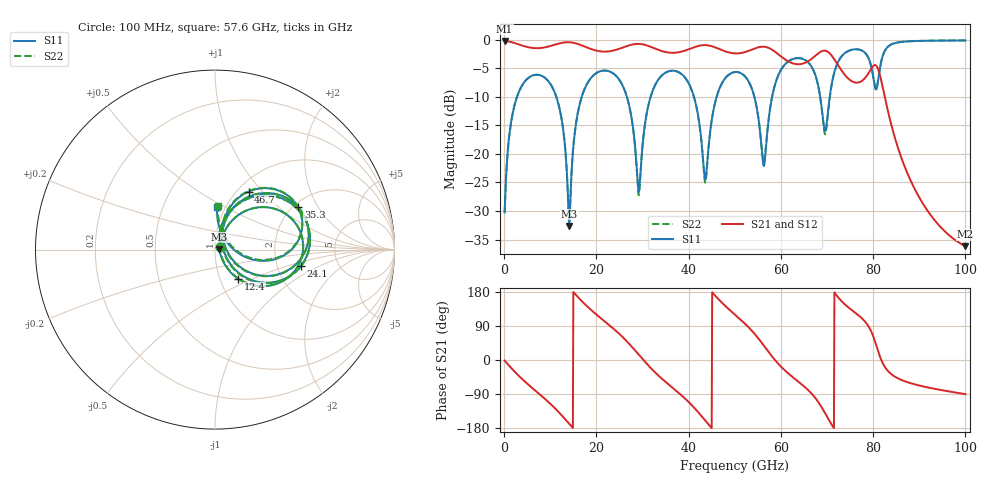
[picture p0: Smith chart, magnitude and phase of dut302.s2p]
! Touchstone file exported from HFSS 2026.1.0
!  File:  C:/ffzhzh/LocalFiles/Ansys_Project_Files/temp_train_TSV_RDL_302_1783696291_45496.aedt
!  Generated:  11:20:22 PM Jul 10, 2026
!  Design:  TSV_RDL
!  Project:  temp_train_TSV_RDL_302_1783696291_45496
! Variables:
!  h_bsmrdl = 2.82um
!  h_ox = 20um
!  h_rdl = 5um
!  h_sub = 91.03um
!  h_tmrdl = 4.02um
!  h_tsv = 91.03um
!  h_via = 3um
!  l_bsmrdl = 495.09um
!  l_sub = 3536.61um
!  l_tmrdl = 394.79um
!  m_sub = 200um
!  pitch = 40.16um
!  r_tsv = 11.98um
!  s_tmrdl = 10um
!  w_bsmrdl = 13.54um
!  w_sub = 500um
!  w_tmrdl = 10.52um
!  x_tsv_center1 = 400.05um
!  x_tsv_center2 = 908.68um
!  x_tsv_center3 = 1313.99um
!  x_tsv_center4 = 1822.62um
!  x_tsv_center5 = 2227.93um
!  x_tsv_center6 = 2736.56um
# GHz S MA R 50.000000
! Terminal data exported
! Port[1] = TM_RDL1_1_T1
! Port[2] = TM_RDL5_1_T1
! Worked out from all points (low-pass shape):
!   1000 points, 100 MHz to 100 GHz, reference 50 ohm
!   highest |S21| = -0.24 dB at 100 MHz (marker M1); lowest = -36.2 dB at 100 GHz (marker M2)
!   |S21| within 3 dB of the highest: start of sweep to 60.49 GHz; 66.87 GHz to 71.4 GHz (4.53 GHz wide, 6.55 % of centre)
!   lowest |S11| = -32.6 dB at 14.1 GHz (marker M3), VSWR 1.05, Z = 52.4 + j0.315 ohm
!   |S11| at or under -10 dB: 11.3 GHz to 16.83 GHz (5.54 GHz wide, 39.4 % of centre); 26.6 GHz to 31.77 GHz (5.165 GHz wide, 17.7 % of centre); 41.14 GHz to 46.07 GHz (4.936 GHz wide, 11.3 % of centre) (the widest 3 of 6)
!   |S22| runs from -31.8 to -0.2 dB; largest |S21 - S12| = 2.6e-13
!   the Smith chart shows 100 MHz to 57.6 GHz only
!   S11 on the Smith chart (normalised r, x): 100 MHz: 1.06, +0.03; 12.4 GHz: 1.22, -0.41; 24.1 GHz: 2.73, -0.64; 35.3 GHz: 2.13, +1.38; 46.7 GHz: 1.13, +0.85; 57.6 GHz: 0.91, +0.46
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0.1  0.03071 25.0  0.9724 -1.4  0.9724 -1.4  0.03071 25.0
! Gamma 0 0 0 0
! Port Impedance 50 0 50 0
4.3  0.4203 31.1  0.8754 -54.7  0.8754 -54.7  0.4203 31.2
12.4  0.2077 -51.6  0.9329 -145.0  0.9329 -145.0  0.2077 -51.1
14.1  0.0234 7.4  0.9463 -168.2  0.9463 -168.2  0.0257 8.0
16.8  0.313 60.4  0.8889 155.8  0.8889 155.8  0.3134 59.9
24.1  0.4882 -10.6  0.8089 78.4  0.8089 78.4  0.4883 -11.0
29.2  0.04628 15.5  0.9158 13.9  0.9158 13.9  0.04336 15.3
33.4  0.4443 44.9  0.8127 -40.6  0.8127 -40.6  0.4441 45.0
35.3  0.5208 26.9  0.7728 -60.9  0.7728 -60.9  0.5207 26.9
40.6  0.3667 -22.6  0.8387 -118.2  0.8387 -118.2  0.3665 -23.0
43.6  0.05953 18.5  0.8935 -159.7  0.8935 -159.7  0.05589 18.4
46.7  0.3738 59.9  0.8239 157.5  0.8239 157.5  0.3732 60.5
50.1  0.5195 27.6  0.756 119.0  0.756 119.0  0.5194 28.1
56.2  0.07959 25.6  0.8654 39.7  0.8654 39.7  0.08533 26.5
57.6  0.2396 86.9  0.8352 17.0  0.8352 17.0  0.2415 85.5
66.7  0.574 8.0  0.6799 -89.2  0.6799 -89.2  0.5727 7.2
69.5  0.1609 28.4  0.799 -138.7  0.799 -138.7  0.1505 27.6
70.8  0.3609 77.0  0.7406 -166.5  0.7406 -166.5  0.3567 78.5
79.3  0.6375 10.4  0.5321 82.3  0.5321 82.3  0.6392 10.9
81.1  0.4436 52.4  0.548 22.4  0.548 22.4  0.4482 52.1
83.4  0.8786 41.1  0.2195 -31.5  0.2195 -31.5  0.8792 41.0
100  0.9812 -2.4  0.01556 -90.1  0.01556 -90.1  0.9812 -2.4
